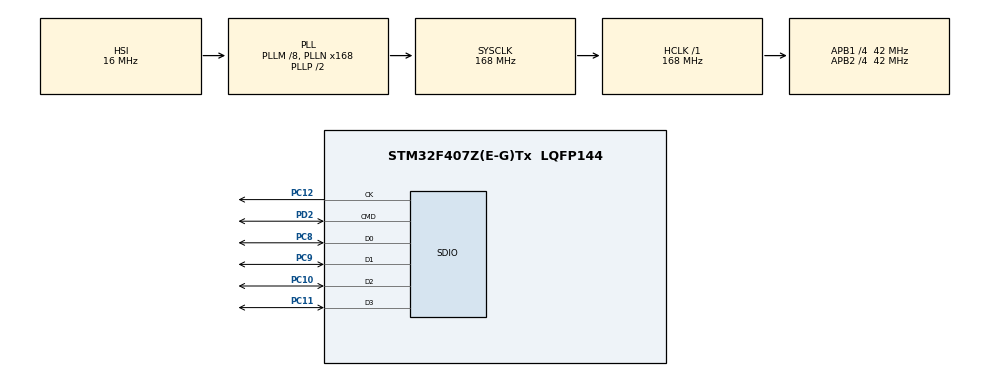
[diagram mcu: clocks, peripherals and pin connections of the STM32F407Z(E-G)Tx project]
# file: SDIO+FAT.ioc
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Dma.Request0=SDIO_RX
Dma.Request1=SDIO_TX
Dma.SDIO_RX.0.Direction=DMA_PERIPH_TO_MEMORY
Dma.SDIO_RX.0.FIFOMode=DMA_FIFOMODE_ENABLE
Dma.SDIO_RX.0.FIFOThreshold=DMA_FIFO_THRESHOLD_FULL
Dma.SDIO_RX.0.Instance=DMA2_Stream3
Dma.SDIO_RX.0.MemBurst=DMA_MBURST_INC4
Dma.SDIO_RX.0.MemDataAlignment=DMA_MDATAALIGN_WORD
Dma.SDIO_RX.0.MemInc=DMA_MINC_ENABLE
Dma.SDIO_RX.0.Mode=DMA_PFCTRL
Dma.SDIO_RX.0.PeriphBurst=DMA_PBURST_INC4
Dma.SDIO_RX.0.PeriphDataAlignment=DMA_PDATAALIGN_WORD
Dma.SDIO_RX.0.PeriphInc=DMA_PINC_DISABLE
Dma.SDIO_RX.0.Priority=DMA_PRIORITY_LOW
Dma.SDIO_TX.1.Direction=DMA_MEMORY_TO_PERIPH
Dma.SDIO_TX.1.FIFOMode=DMA_FIFOMODE_ENABLE
Dma.SDIO_TX.1.FIFOThreshold=DMA_FIFO_THRESHOLD_FULL
Dma.SDIO_TX.1.Instance=DMA2_Stream6
Dma.SDIO_TX.1.MemBurst=DMA_MBURST_INC4
Dma.SDIO_TX.1.MemDataAlignment=DMA_MDATAALIGN_WORD
Dma.SDIO_TX.1.MemInc=DMA_MINC_ENABLE
Dma.SDIO_TX.1.Mode=DMA_PFCTRL
Dma.SDIO_TX.1.PeriphBurst=DMA_PBURST_INC4
Dma.SDIO_TX.1.PeriphDataAlignment=DMA_PDATAALIGN_WORD
Dma.SDIO_TX.1.PeriphInc=DMA_PINC_DISABLE
Dma.SDIO_TX.1.Priority=DMA_PRIORITY_LOW
FATFS._CODE_PAGE=936
FATFS._USE_LFN=3
Mcu.Family=STM32F4
Mcu.Name=STM32F407Z(E-G)Tx
Mcu.Package=LQFP144
NVIC.DMA2_Stream3_IRQn=true\:2\:0\:true\:false\:true\:false\:true
NVIC.DMA2_Stream6_IRQn=true\:2\:0\:true\:false\:true\:false\:true
NVIC.PriorityGroup=NVIC_PRIORITYGROUP_4
NVIC.SDIO_IRQn=true\:0\:0\:false\:false\:true\:true\:true
PC10.Mode=SD_4_bits_Wide_bus
PC10.Signal=SDIO_D2
PC11.Mode=SD_4_bits_Wide_bus
PC11.Signal=SDIO_D3
PC12.Mode=SD_4_bits_Wide_bus
PC12.Signal=SDIO_CK
PC8.Mode=SD_4_bits_Wide_bus
PC8.Signal=SDIO_D0
PC9.Mode=SD_4_bits_Wide_bus
PC9.Signal=SDIO_D1
PD2.Mode=SD_4_bits_Wide_bus
PD2.Signal=SDIO_CMD
PH0-OSC_IN.Mode=HSE-External-Oscillator
PH0-OSC_IN.Signal=RCC_OSC_IN
PH1-OSC_OUT.Mode=HSE-External-Oscillator
PH1-OSC_OUT.Signal=RCC_OSC_OUT
ProjectManager.HeapSize=0x200
ProjectManager.StackSize=0x1000
ProjectManager.TargetToolchain=TrueSTUDIO
RCC.48MHZClocksFreq_Value=48000000
RCC.AHBFreq_Value=168000000
RCC.APB1CLKDivider=RCC_HCLK_DIV4
RCC.APB1Freq_Value=42000000
RCC.APB1TimFreq_Value=84000000
RCC.APB2CLKDivider=RCC_HCLK_DIV4
RCC.APB2Freq_Value=42000000
RCC.APB2TimFreq_Value=84000000
RCC.CortexFreq_Value=168000000
RCC.HCLKFreq_Value=168000000
RCC.HSE_VALUE=8000000
RCC.HSI_VALUE=16000000
RCC.LSE_VALUE=32768
RCC.PLLM=8
RCC.PLLN=168
RCC.PLLQ=7
RCC.SYSCLKFreq_VALUE=168000000
RCC.SYSCLKSource=RCC_SYSCLKSOURCE_PLLCLK
RCC.VCOOutputFreq_Value=336000000
SDIO.ClockDiv=2
VP_FATFS_VS_SDIO.Mode=SDIO
board=custom

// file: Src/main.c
/* USER CODE BEGIN Header */
/**
  ******************************************************************************
  * @file           : main.c
  * @brief          : Main program body
  ******************************************************************************
  * @attention
  *
  * <h2><center>&copy; Copyright (c) 2019 STMicroelectronics.
  * All rights reserved.</center></h2>
  *
  * This software component is licensed by ST under Ultimate Liberty license
  * SLA0044, the "License"; You may not use this file except in compliance with
  * the License. You may obtain a copy of the License at:
  *                             www.st.com/SLA0044
  *
  ******************************************************************************
  */
/* USER CODE END Header */

#include "main.h"
#include "dma.h"
#include "fatfs.h"
#include "sdio.h"
#include "gpio.h"

/* USER CODE BEGIN PV */
FRESULT res;
uint32_t byteswritten, bytesread;
uint8_t wtext[]="this is stm32 working with fatfa";
uint8_t rtext[100];
/* USER CODE END PV */

void SystemClock_Config(void);

int main(void)
{

  /* MCU Configuration--------------------------------------------------------*/

  /* Reset of all peripherals, Initializes the Flash interface and the Systick. */
  HAL_Init();

  /* Configure the system clock */
  SystemClock_Config();

  /* Initialize all configured peripherals */
  MX_GPIO_Init();
  MX_DMA_Init();
  MX_SDIO_SD_Init();
  MX_FATFS_Init();
  /* USER CODE BEGIN 2 */
//    char *Ptr = NULL;
//
//    Ptr = (char *)malloc(8 * sizeof(char));

  if (f_mount(&SDFatFS, (TCHAR const*)SDPath, 0) != FR_OK) {
	  while (1);
  } else {
	  if (f_open (&SDFile, "stm32.txt", FA_CREATE_ALWAYS | FA_WRITE) != FR_OK) {
		  while (1);
	  } else {
		  res = f_write(&SDFile, wtext, sizeof(wtext), (void *)&byteswritten);

		  if ((byteswritten == 0) || (res != FR_OK))
		  {
			  while (1);
		  }
		  else
		  {
			  f_close(&SDFile);

			  if (f_open (&SDFile, "stm32.txt", FA_READ) != FR_OK)
			  {
				  while (1);
			  }else {
				  res = f_read (&SDFile, rtext, sizeof(rtext), (UINT*)&bytesread);

				  if ((bytesread == 0) || (res != FR_OK))
				  {
					  while (1);
				  } else {
					  f_close(&SDFile);

					  if (bytesread != byteswritten)
					  {
						  while (1);
					  }
					  else
					  {

					  }
				  }
			  }
		  }
	  }
  }
  /* USER CODE END 2 */

  /* Infinite loop */
  while (1)
  {

  }
}

void SystemClock_Config(void)
{
  RCC_OscInitTypeDef RCC_OscInitStruct = {0};
  RCC_ClkInitTypeDef RCC_ClkInitStruct = {0};

  /** Configure the main internal regulator output voltage
  */
  __HAL_RCC_PWR_CLK_ENABLE();
  __HAL_PWR_VOLTAGESCALING_CONFIG(PWR_REGULATOR_VOLTAGE_SCALE1);
  /** Initializes the CPU, AHB and APB busses clocks
  */
  RCC_OscInitStruct.OscillatorType = RCC_OSCILLATORTYPE_HSI;
  RCC_OscInitStruct.HSIState = RCC_HSI_ON;
  RCC_OscInitStruct.HSICalibrationValue = RCC_HSICALIBRATION_DEFAULT;
  RCC_OscInitStruct.PLL.PLLState = RCC_PLL_ON;
  RCC_OscInitStruct.PLL.PLLSource = RCC_PLLSOURCE_HSI;
  RCC_OscInitStruct.PLL.PLLM = 8;
  RCC_OscInitStruct.PLL.PLLN = 168;
  RCC_OscInitStruct.PLL.PLLP = RCC_PLLP_DIV2;
  RCC_OscInitStruct.PLL.PLLQ = 7;
  if (HAL_RCC_OscConfig(&RCC_OscInitStruct) != HAL_OK)
  {
    Error_Handler();
  }
  /** Initializes the CPU, AHB and APB busses clocks
  */
  RCC_ClkInitStruct.ClockType = RCC_CLOCKTYPE_HCLK|RCC_CLOCKTYPE_SYSCLK
                              |RCC_CLOCKTYPE_PCLK1|RCC_CLOCKTYPE_PCLK2;
  RCC_ClkInitStruct.SYSCLKSource = RCC_SYSCLKSOURCE_PLLCLK;
  RCC_ClkInitStruct.AHBCLKDivider = RCC_SYSCLK_DIV1;
  RCC_ClkInitStruct.APB1CLKDivider = RCC_HCLK_DIV4;
  RCC_ClkInitStruct.APB2CLKDivider = RCC_HCLK_DIV4;

  if (HAL_RCC_ClockConfig(&RCC_ClkInitStruct, FLASH_LATENCY_5) != HAL_OK)
  {
    Error_Handler();
  }
}

void Error_Handler(void)
{
}

/************************ (C) COPYRIGHT STMicroelectronics *****END OF FILE****/
